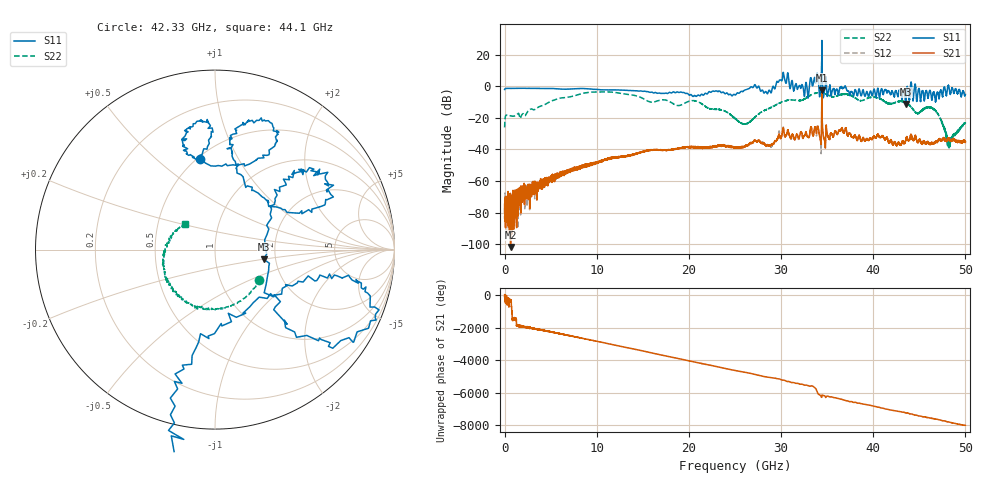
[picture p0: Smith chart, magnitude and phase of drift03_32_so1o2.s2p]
!Created with skrf (http://scikit-rf.org).
# Hz S RI R 50.0
!freq ReS11 ImS11 ReS21 ImS21 ReS12 ImS12 ReS22 ImS22
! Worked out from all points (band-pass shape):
!   10000 points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, 5.3 MHz to 50 GHz, reference 50 ohm
!   highest |S21| = -2.61 dB at 34.43 GHz (marker M1); lowest = -101.6 dB at 655.3 MHz (marker M2)
!   |S21| within 3 dB of the highest: 34.42745 GHz to 34.43461 GHz (7.153 MHz wide, 0.0208 % of centre)
!   lowest |S11| = -11.2 dB at 43.53 GHz (marker M3), VSWR 1.76, Z = 86.5 - j9.98 ohm
!   |S11| at or under -10 dB: 43.49641 GHz to 43.54163 GHz (45.21 MHz wide, 0.104 % of centre)
!   |S22| runs from -39.3 to -3.6 dB; largest |S21 - S12| = 0.24
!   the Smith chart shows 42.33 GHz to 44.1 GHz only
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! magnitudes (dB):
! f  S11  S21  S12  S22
! 5.3 MHz  -2.1  -74.6  -76.8  -26.1
! 655.3 MHz  -1.4  -101.6  -74.3  -18.8
! 3.19 GHz  -1.4  -62.1  -66.2  -14.9
! 8.34 GHz  -1.5  -50.9  -51.4  -4.7
! 16.67 GHz  -4.4  -40.3  -40.1  -9.1
! 20.72 GHz  -6.2  -39.0  -38.5  -9.3
! 25.01 GHz  -5.5  -39.1  -38.7  -20.4
! 26.22 GHz  -2.2  -37.5  -37.6  -23.7
! 27.38 GHz  -1.2  -34.9  -34.9  -18.4
! 28.72 GHz  -2.5  -37.6  -37.3  -14.1
! 30.14 GHz  4.3  -29.5  -29.7  -9.9
! 32.74 GHz  2.0  -29.3  -29.2  -7.3
! 33.34 GHz  2.6  -27.4  -27.7  -5.3
! 33.82 GHz  4.0  -29.1  -29.6  -4.3
! 34.43 GHz  28.9  -2.6  -4.6  -4.0
! 36.49 GHz  -0.4  -27.9  -27.9  -5.3
! 41.67 GHz  -3.1  -35.6  -35.4  -10.6
! 43.53 GHz  -11.2  -34.1  -34.0  -10.4
! 44.77 GHz  -7.9  -35.2  -35.0  -17.2
! 46.68 GHz  -6.2  -35.8  -35.4  -15.2
! 48.21 GHz  -0.3  -33.6  -33.2  -38.3
! 50 GHz  -5.2  -35.5  -34.7  -23.5
